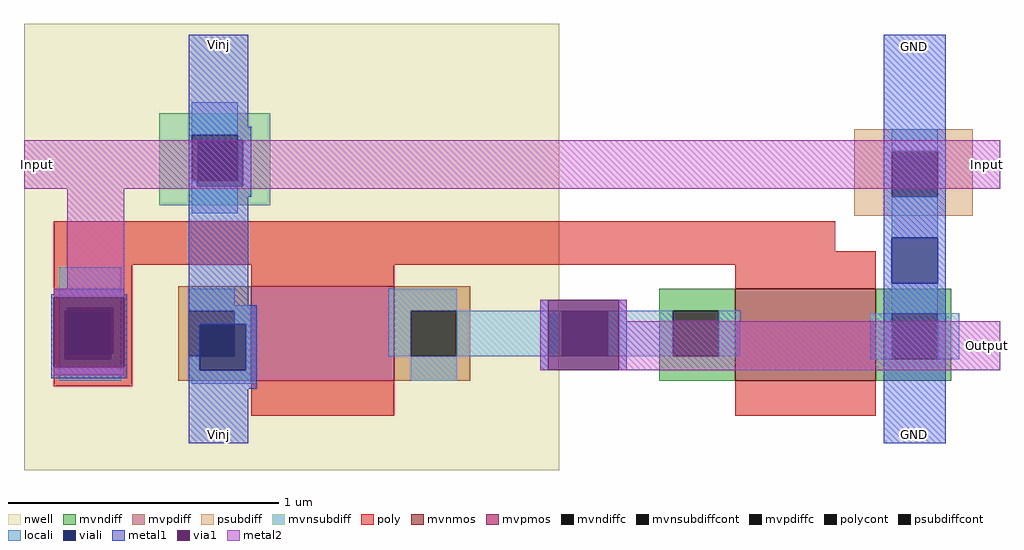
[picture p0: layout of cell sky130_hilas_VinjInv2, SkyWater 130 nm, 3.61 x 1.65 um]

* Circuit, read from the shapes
.subckt sky130_hilas_VinjInv2 GND Input Output Vinj
XM1 GND Input Output GND sky130_fd_pr__nfet_g5v0d10v5 w=0.34 l=0.52
XM2 Output Input Vinj Vinj sky130_fd_pr__pfet_g5v0d10v5 w=0.35 l=0.53
.ends

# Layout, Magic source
magic
tech sky130A
<< nwell >>
rect -336 143 -138 308
<< mvnmos >>
rect -73 176 -21 210
<< mvpmos >>
rect -252 176 -199 211
<< mvndiff >>
rect -101 202 -73 210
rect -101 185 -96 202
rect -79 185 -73 202
rect -101 176 -73 185
rect -21 201 7 210
rect -21 184 -15 201
rect 2 184 7 201
rect -21 176 7 184
<< mvpdiff >>
rect -279 202 -252 211
rect -279 185 -275 202
rect -258 185 -252 202
rect -279 176 -252 185
rect -199 202 -171 211
rect -199 185 -193 202
rect -176 185 -171 202
rect -199 176 -171 185
<< mvndiffc >>
rect -96 185 -79 202
rect -15 184 2 201
<< mvpdiffc >>
rect -275 185 -258 202
rect -193 185 -176 202
<< psubdiff >>
rect -29 261 15 269
rect -29 244 -15 261
rect 2 244 15 261
rect -29 237 15 244
<< mvnsubdiff >>
rect -286 267 -245 275
rect -286 250 -274 267
rect -257 250 -245 267
rect -286 241 -245 250
<< psubdiffcont >>
rect -15 244 2 261
<< mvnsubdiffcont >>
rect -274 250 -257 267
<< poly >>
rect -325 224 -36 235
rect -325 219 -21 224
rect -325 203 -296 219
rect -252 211 -199 219
rect -325 186 -320 203
rect -303 186 -296 203
rect -325 174 -296 186
rect -73 210 -21 219
rect -252 163 -199 176
rect -73 163 -21 176
<< polycont >>
rect -320 186 -303 203
<< locali >>
rect -274 267 -257 279
rect -274 248 -272 250
rect -15 261 2 269
rect -274 238 -257 248
rect -15 229 2 244
rect -323 203 -300 218
rect -323 202 -320 203
rect -323 184 -321 202
rect -303 186 -300 203
rect -304 184 -300 186
rect -323 176 -300 184
rect -275 204 -258 210
rect -275 202 -250 204
rect -258 197 -250 202
rect -275 180 -271 185
rect -254 180 -250 197
rect -201 202 -176 210
rect -201 185 -193 202
rect -176 185 -137 202
rect -120 185 -96 202
rect -79 185 -71 202
rect -15 201 2 212
rect -275 177 -250 180
rect -274 175 -250 177
rect -193 176 -176 185
rect -23 184 -15 201
rect 2 184 10 201
<< viali >>
rect -272 250 -257 265
rect -257 250 -255 265
rect -272 248 -255 250
rect -15 212 2 229
rect -321 186 -320 202
rect -320 186 -304 202
rect -321 184 -304 186
rect -271 185 -258 197
rect -258 185 -254 197
rect -271 180 -254 185
rect -137 185 -120 202
<< metal1 >>
rect -275 270 -253 304
rect -275 265 -252 270
rect -275 248 -272 265
rect -255 248 -252 265
rect -275 244 -252 248
rect -325 208 -299 210
rect -326 207 -298 208
rect -326 181 -325 207
rect -299 181 -298 207
rect -326 177 -298 181
rect -275 204 -253 244
rect -18 229 5 304
rect -18 212 -15 229
rect 2 212 5 229
rect -275 197 -250 204
rect -275 180 -271 197
rect -254 180 -250 197
rect -145 180 -142 206
rect -116 180 -113 206
rect -275 173 -250 180
rect -275 153 -253 173
rect -18 153 5 212
<< via1 >>
rect -325 202 -299 207
rect -325 184 -321 202
rect -321 184 -304 202
rect -304 184 -299 202
rect -325 181 -299 184
rect -142 202 -116 206
rect -142 185 -137 202
rect -137 185 -120 202
rect -120 185 -116 202
rect -142 180 -116 185
<< metal2 >>
rect -336 247 25 265
rect -320 210 -299 247
rect -325 207 -299 210
rect -325 178 -299 181
rect -145 180 -142 206
rect -116 198 -113 206
rect -116 180 25 198
<< labels >>
rlabel metal1 -275 153 -253 159 0 Vinj
rlabel metal1 -275 297 -253 304 0 Vinj
rlabel metal1 -18 295 5 304 0 GND
rlabel metal1 -18 153 5 159 0 GND
rlabel metal2 -336 247 -326 265 0 Input
rlabel metal2 16 247 25 265 0 Input
rlabel metal2 16 180 25 198 0 Output
<< end >>
